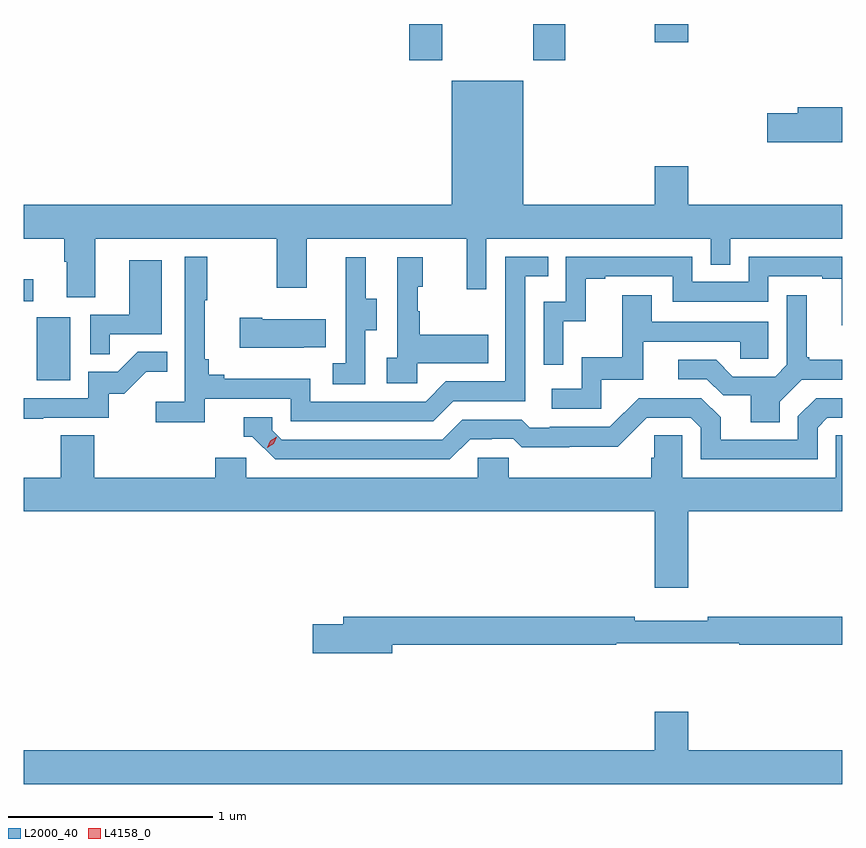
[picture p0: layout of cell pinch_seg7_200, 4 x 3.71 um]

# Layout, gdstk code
import gdstk
lib = gdstk.Library(unit=1e-6, precision=1e-09)
def R(c, l, rs):  # rectangles x0, y0, x1, y1
    for r in rs: c.add(gdstk.rectangle(r[:2], r[2:], *l))
def P(c, l, *ps):  # polygons
    for p in ps: c.add(gdstk.Polygon(p, *l))
L2000_40 = (2000, 40)
L4158_0 = (4158, 0)

pinch_seg7_200 = lib.new_cell('pinch_seg7_200')
R(pinch_seg7_200, L2000_40, [(653.498,1002.588,653.662,1002.895), (653.434,1002.975,653.482,1003.081), (655.319,1004.151,655.479,1004.328), (655.924,1004.151,656.079,1004.328), (656.516,1004.238,656.68,1004.328)])
P(pinch_seg7_200, L2000_40, [(653.785,1003.28),(654.67,1003.28),(654.67,1003.041),(654.817,1003.041),(654.817,1003.28),(655.598,1003.28),(655.598,1003.032),(655.695,1003.032),(655.695,1003.28),(656.79,1003.28),(656.79,1003.153),(656.886,1003.153),(656.886,1003.28),(657.434,1003.28),(657.434,1003.444),(656.68,1003.444),(656.68,1003.633),(656.516,1003.633),(656.516,1003.444),(655.876,1003.444),(655.876,1004.05),(655.526,1004.05),(655.526,1003.444),(653.434,1003.444),(653.434,1003.28),(653.633,1003.28),(653.633,1003.168),(653.645,1003.168),(653.645,1002.994),(653.785,1002.994)],
  [(657.434,1003.922),(657.215,1003.922),(657.215,1003.892),(657.066,1003.892),(657.066,1003.75),(657.434,1003.75)],
  [(654.32,1002.498),(654.738,1002.498),(654.738,1002.387),(655.435,1002.387),(655.534,1002.486),(655.884,1002.486),(655.884,1003.095),(655.997,1003.095),(655.997,1003.191),(655.788,1003.191),(655.788,1002.582),(655.497,1002.582),(655.398,1002.483),(654.834,1002.483),(654.834,1002.595),(654.415,1002.595),(654.415,1002.614),(654.338,1002.614),(654.338,1002.691),(654.319,1002.691),(654.319,1002.979),(654.331,1002.979),(654.331,1003.192),(654.222,1003.192),(654.222,1002.484),(654.081,1002.484),(654.081,1002.382),(654.32,1002.382)],
  [(656.07,1002.875),(656.18,1002.875),(656.18,1003.083),(656.275,1003.083),(656.275,1003.095),(656.604,1003.095),(656.604,1002.972),(657.072,1002.972),(657.072,1003.095),(657.335,1003.095),(657.335,1003.083),(657.431,1003.083),(657.431,1002.857),(657.434,1002.857),(657.434,1003.191),(656.976,1003.191),(656.976,1003.068),(656.7,1003.068),(656.7,1003.191),(656.082,1003.191),(656.082,1002.972),(655.974,1002.972),(655.974,1002.663),(656.07,1002.663)],
  [(655.356,1002.671),(655.703,1002.671),(655.703,1002.811),(655.369,1002.811),(655.369,1002.926),(655.359,1002.926),(655.359,1003.044),(655.384,1003.044),(655.384,1003.189),(655.26,1003.189),(655.26,1002.698),(655.209,1002.698),(655.209,1002.573),(655.356,1002.573)],
  [(655.104,1002.832),(655.159,1002.832),(655.159,1002.987),(655.105,1002.987),(655.105,1003.189),(655.007,1003.189),(655.007,1002.975),(655.008,1002.975),(655.008,1002.671),(654.945,1002.671),(654.945,1002.568),(655.104,1002.568)],
  [(653.855,1002.813),(654.109,1002.813),(654.109,1003.174),(653.951,1003.174),(653.951,1002.909),(653.76,1002.909),(653.76,1002.715),(653.855,1002.715)],
  [(656.256,1002.591),(656.461,1002.591),(656.461,1002.777),(656.935,1002.777),(656.935,1002.693),(657.072,1002.693),(657.072,1002.873),(656.503,1002.873),(656.503,1003.003),(656.359,1003.003),(656.359,1002.7),(656.16,1002.7),(656.16,1002.546),(656.013,1002.546),(656.013,1002.45),(656.256,1002.45)],
  [(657.127,1002.484),(657.234,1002.591),(657.434,1002.591),(657.434,1002.688),(657.271,1002.688),(657.271,1002.7),(657.259,1002.7),(657.259,1003.003),(657.162,1003.003),(657.162,1002.663),(657.105,1002.606),(656.899,1002.606),(656.818,1002.687),(656.631,1002.687),(656.631,1002.594),(656.772,1002.594),(656.852,1002.514),(656.987,1002.514),(656.987,1002.382),(657.127,1002.382)],
  [(654.803,1002.749),(654.911,1002.749),(654.911,1002.886),(654.601,1002.886),(654.601,1002.894),(654.489,1002.894),(654.489,1002.746),(654.803,1002.746)],
  [(653.531,1002.405),(653.85,1002.405),(653.85,1002.522),(653.926,1002.522),(654.033,1002.629),(654.137,1002.629),(654.137,1002.728),(653.993,1002.728),(653.895,1002.63),(653.751,1002.63),(653.751,1002.501),(653.434,1002.501),(653.434,1002.4),(653.531,1002.4)],
  [(655.615,1002.3),(655.722,1002.3),(655.722,1002.303),(655.825,1002.303),(655.867,1002.261),(656.1,1002.261),(656.1,1002.263),(656.336,1002.263),(656.478,1002.405),(656.694,1002.405),(656.742,1002.357),(656.742,1002.201),(657.312,1002.201),(657.312,1002.357),(657.36,1002.405),(657.434,1002.405),(657.434,1002.501),(657.306,1002.501),(657.216,1002.411),(657.216,1002.297),(656.839,1002.297),(656.839,1002.407),(656.745,1002.501),(656.439,1002.501),(656.298,1002.36),(656.005,1002.36),(656.005,1002.357),(655.906,1002.357),(655.867,1002.396),(655.578,1002.396),(655.479,1002.297),(654.696,1002.297),(654.648,1002.345),(654.648,1002.408),(654.509,1002.408),(654.509,1002.312),(654.552,1002.312),(654.663,1002.201),(655.516,1002.201)],
  [(656.68,1001.948),(657.434,1001.948),(657.434,1002.32),(657.402,1002.32),(657.402,1002.112),(656.652,1002.112),(656.652,1002.32),(656.515,1002.32),(656.515,1002.21),(656.501,1002.21),(656.501,1002.112),(655.803,1002.112),(655.803,1002.21),(655.653,1002.21),(655.653,1002.112),(654.522,1002.112),(654.522,1002.21),(654.371,1002.21),(654.371,1002.112),(653.78,1002.112),(653.78,1002.32),(653.615,1002.32),(653.615,1002.112),(653.434,1002.112),(653.434,1001.948),(656.516,1001.948),(656.516,1001.574),(656.68,1001.574)],
  [(655.234,1001.296),(656.33,1001.296),(656.33,1001.304),(656.93,1001.304),(656.93,1001.296),(657.434,1001.296),(657.434,1001.432),(656.776,1001.432),(656.776,1001.413),(656.42,1001.413),(656.42,1001.432),(654.995,1001.432),(654.995,1001.396),(654.846,1001.396),(654.846,1001.254),(655.234,1001.254)],
  [(657.434,1000.78),(656.68,1000.78),(656.68,1000.969),(656.516,1000.969),(656.516,1000.78),(653.434,1000.78),(653.434,1000.616),(657.434,1000.616)])
P(pinch_seg7_200, L4158_0, [(654.625,1002.259),(654.625,1002.259),(654.64,1002.292),(654.671,1002.312),(654.671,1002.312),(654.671,1002.312),(654.656,1002.279),(654.625,1002.259)])

lib.write_gds('pinch_seg7_200.gds')
